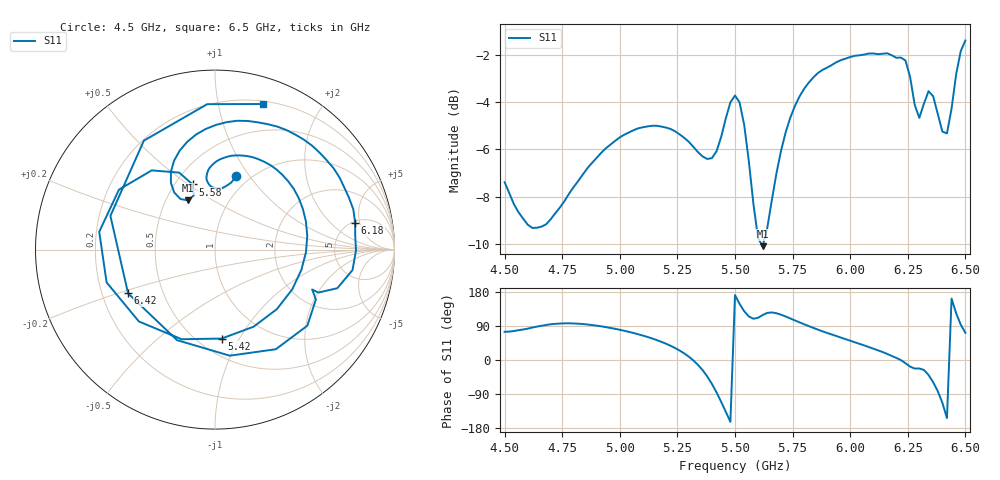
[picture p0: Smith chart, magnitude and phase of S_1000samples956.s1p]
! TOUCHSTONE file generated by CST MICROWAVE STUDIO
! Date and time: Sat Oct 29 22:13:29 2022
! Project name: L.cst
! Parameters = {Di=1.27; Epsilon_r=1.56; InnerDiameter=1.27; Length=2; Lf=10; Lg=60; OuterConductorThickness=0.2921; OuterDiameter=3.6; Wf=3; Wp=41.2; de=1.5; df=6.8; g=0.8; gx=0.552907; gy=3.32111; h=2.34; hf=1.524; px=12.6081; py=8.38718; w=9.7; wx=12.0552; wy=5.06607}
! Header version: 2018
! Port assignment regex: !\s*Touchstone port\s*([0-9]+)\s*=\s*(CST MWS port|CST DS port)\s*([0-9]+|Zmin|Zmax)\s*\(\"(.*)\"\)(\s*mode\s*([0-9]+))?.*
! Touchstone port assignment:
! Touchstone port 1 = CST MWS port 1 ("")
# GHz S DB R 50
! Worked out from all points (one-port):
!   101 points, 4.5 GHz to 6.5 GHz, reference 50 ohm
!   lowest |S11| = -10.1 dB at 5.62 GHz (marker M1), VSWR 1.91, Z = 32.3 + j19.6 ohm
!   |S11| at or under -10 dB: 5.613484 GHz to 5.622887 GHz (9.403 MHz wide, 0.167 % of centre)
!   S11 on the Smith chart (normalised r, x): 4.5 GHz: 0.86, +0.86; 5.42 GHz: 0.64, -0.84; 5.58 GHz: 0.61, +0.52; 6.18 GHz: 5.27, +4.23; 6.42 GHz: 0.31, -0.22; 6.5 GHz: 0.23, +1.36
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4.5  -7.39 74.4
4.62  -9.34 85.6
4.76  -8.19 96.8
5  -5.49 79.7
5.14  -4.99 56.9
5.26  -5.36 24.8
5.36  -6.30 -27.1
5.42  -6.07 -85.7
5.46  -4.68 -136.6
5.5  -3.71 171.3
5.54  -4.96 128.6
5.58  -8.32 108.9
5.62  -10.11 118.6
5.68  -7.01 123.4
5.76  -4.15 104.5
5.86  -2.75 80.2
6  -2.07 50.9
6.18  -1.99 10.7
6.26  -2.92 -17.5
6.3  -4.66 -22.3
6.34  -3.52 -39.5
6.38  -4.49 -82.1
6.4  -5.24 -112.7
6.42  -5.32 -153.3
6.44  -4.26 162.1
6.46  -2.79 123.1
6.48  -1.82 93.1
6.5  -1.37 71.7
